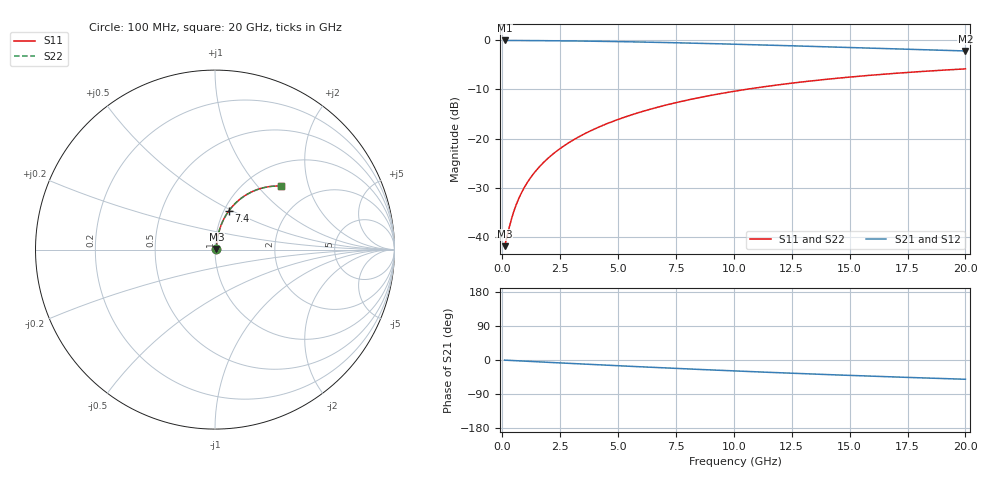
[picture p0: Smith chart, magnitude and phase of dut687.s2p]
! Touchstone file exported from HFSS 2024.1.0
!  File:  C:/UserFiles/LocalFiles/RDL_TSV_Batchsim/temp_RDL_top_687_1779782683.aedt
!  Generated:  04:07:00 PM May 26, 2026
!  Design:  RDL_top
!  Project:  temp_RDL_top_687_1779782683
!  Setup:  Setup1
!  Solution:  Sweep
! Variables:
!  dtsv = 10.80580581um
!  hbump = 3um
!  htsv = 56.26um
!  ldown = 100um
!  lrdl = 691.63um
!  p = 40
!  p1 = 47.85um
!  rhole = 1um
!  t = 450um
!  tdown = 3.915915916um
!  trdl = 2.27um
!  wdown = 15.38538539um
!  wrdl = 14.9um
# GHz S MA R 50.000000
! Terminal data exported
! Port[1] = Box2_T1
! Port[2] = Box2_T2
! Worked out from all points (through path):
!   200 points, 100 MHz to 20 GHz, reference 50 ohm
!   highest |S21| = -0.06 dB at 100 MHz (marker M1); lowest = -2.2 dB at 20 GHz (marker M2)
!   group delay of S21, straight-line fit = 7.06 ps
!   lowest |S11| = -41.9 dB at 100 MHz (marker M3), VSWR 1.02, Z = 50.7 + j0.338 ohm
!   |S11| at or under -10 dB: start of sweep to 10.53 GHz
!   |S22| runs from -41.9 to -5.8 dB; largest |S21 - S12| = 1.7e-14
!   S11 on the Smith chart (normalised r, x): 100 MHz: 1.01, +0.01; 7.4 GHz: 1.05, +0.48; 20 GHz: 1.41, +1.35
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0.1  0.008072 24.4  0.9926 -0.3  0.9926 -0.3  0.008072 24.4
! Gamma 0 0 0 0
! Port Impedance 50 0 50 0
0.4  0.01534 59.1  0.9921 -1.3  0.9921 -1.3  0.01534 59.1
0.6  0.02126 66.6  0.9916 -1.9  0.9916 -1.9  0.02126 66.6
0.7  0.02427 68.9  0.9913 -2.2  0.9913 -2.2  0.02427 68.9
0.9  0.03032 72.0  0.9908 -2.8  0.9908 -2.8  0.03032 72.0
1.2  0.03942 74.7  0.9898 -3.8  0.9898 -3.8  0.03942 74.6
1.4  0.04551 75.8  0.9892 -4.4  0.9892 -4.4  0.04551 75.8
1.7  0.05468 76.8  0.9881 -5.3  0.9881 -5.3  0.05468 76.8
2.2  0.07004 77.7  0.986 -6.8  0.986 -6.8  0.07004 77.6
2.8  0.08856 77.8  0.9829 -8.6  0.9829 -8.6  0.08856 77.8
3.5  0.1102 77.3  0.9785 -10.7  0.9785 -10.7  0.1102 77.3
4.2  0.1319 76.4  0.9733 -12.8  0.9733 -12.8  0.1319 76.4
5  0.1565 75.2  0.9666 -15.1  0.9666 -15.1  0.1565 75.1
5.9  0.1839 73.5  0.958 -17.7  0.958 -17.7  0.1839 73.5
6.8  0.211 71.7  0.9485 -20.2  0.9485 -20.2  0.211 71.6
7.4  0.2288 70.4  0.9418 -21.9  0.9418 -21.9  0.2287 70.4
8.7  0.2662 67.5  0.9263 -25.4  0.9263 -25.4  0.2662 67.5
10.1  0.3047 64.4  0.9084 -29.0  0.9084 -29.0  0.3047 64.3
11.7  0.3461 60.8  0.8871 -33.0  0.8871 -33.0  0.346 60.7
13.4  0.3866 57.0  0.8639 -37.0  0.8639 -37.0  0.3865 57.0
16.7  0.4551 50.2  0.819 -44.3  0.819 -44.3  0.4549 50.1
20  0.5107 43.9  0.7764 -50.8  0.7764 -50.8  0.5105 43.8
